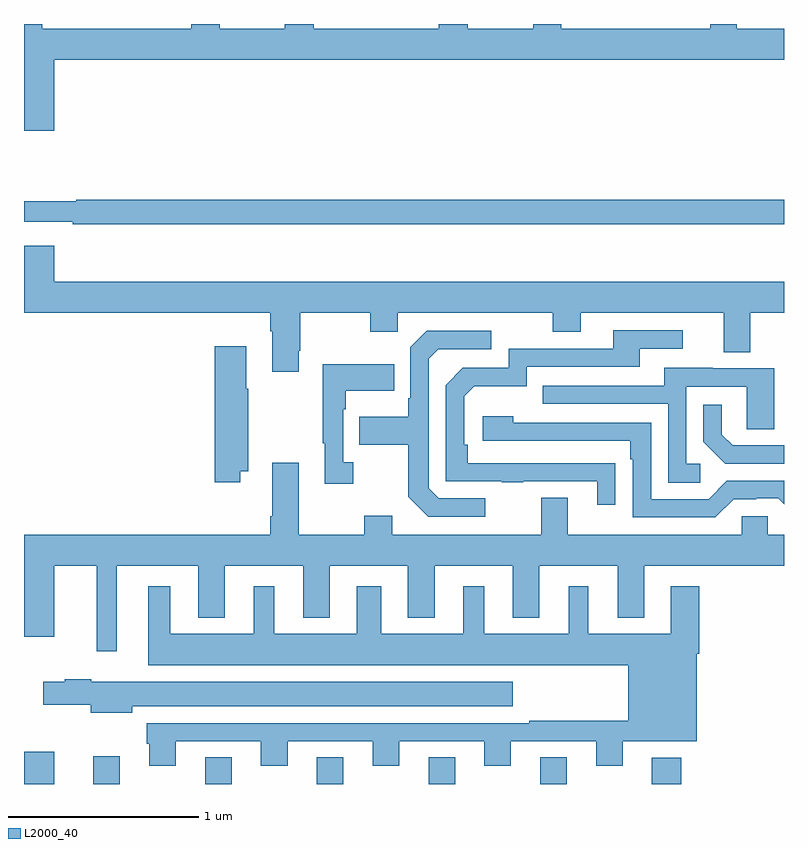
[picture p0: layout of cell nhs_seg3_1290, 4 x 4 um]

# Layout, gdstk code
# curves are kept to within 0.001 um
import gdstk
lib = gdstk.Library(unit=1e-6, precision=1e-09)
def R(c, l, rs):  # rectangles x0, y0, x1, y1
    for r in rs: c.add(gdstk.rectangle(r[:2], r[2:], *l))
def A(c, l, x, y, w, h, nx, ny, dx, dy):  # array of equal rectangles
    R(c, l, [(x+i*dx, y+j*dy, x+i*dx+w, y+j*dy+h) for i in range(nx) for j in range(ny)])
def P(c, l, *ps):  # polygons
    for p in ps: c.add(gdstk.Polygon(p, *l))
L2000_40 = (2000, 40)

nhs_seg3_1290 = lib.new_cell('nhs_seg3_1290')
A(nhs_seg3_1290, L2000_40, 177.953, 734.4, 0.14, 0.14, 4, 1, 0.588, 0)
R(nhs_seg3_1290, L2000_40, [(177,734.4,177.16,734.569), (177.365,734.4,177.505,734.545), (180.305,734.4,180.458,734.539)])
P(nhs_seg3_1290, L2000_40, [(177.16,738.212),(181,738.212),(181,738.376),(180.751,738.376),(180.751,738.4),(180.611,738.4),(180.611,738.376),(179.827,738.376),(179.827,738.4),(179.68,738.4),(179.68,738.376),(179.335,738.376),(179.335,738.4),(179.183,738.4),(179.183,738.376),(178.526,738.376),(178.526,738.4),(178.373,738.4),(178.373,738.376),(178.029,738.376),(178.029,738.4),(177.881,738.4),(177.881,738.376),(177.097,738.376),(177.097,738.4),(177,738.4),(177,737.838),(177.16,737.838)],
  [(181,737.474),(177.274,737.474),(177.274,737.467),(177,737.467),(177,737.358),(177.256,737.358),(177.256,737.346),(181,737.346)],
  [(178.447,736.681),(178.455,736.681),(178.455,736.88),(178.822,736.88),(178.822,736.781),(178.968,736.781),(178.968,736.88),(179.782,736.88),(179.782,736.781),(179.929,736.781),(179.929,736.88),(180.683,736.88),(180.683,736.672),(180.823,736.672),(180.823,736.88),(181,736.88),(181,737.044),(177.16,737.044),(177.16,737.233),(177,737.233),(177,736.88),(178.295,736.88),(178.295,736.784),(178.307,736.784),(178.307,736.569),(178.447,736.569)],
  [(180.113,736.088),(179.336,736.089),(179.336,736.186),(179.316,736.186),(179.316,736.44),(179.369,736.493),(179.646,736.493),(179.646,736.596),(180.241,736.596),(180.241,736.692),(180.466,736.692),(180.466,736.788),(180.101,736.788),(180.101,736.692),(179.55,736.692),(179.55,736.59),(179.31,736.59),(179.22,736.5),(179.22,735.993),(179.515,735.993),(179.515,735.988),(179.627,735.988),(179.627,735.993),(180.017,735.993),(180.017,735.87),(180.113,735.87)],
  [(179.428,735.903),(179.184,735.903),(179.13,735.957),(179.13,736.638),(179.181,736.689),(179.458,736.689),(179.458,736.785),(179.121,736.785),(179.034,736.698),(179.034,736.429),(179.022,736.429),(179.022,736.333),(178.765,736.333),(178.765,736.186),(179.022,736.186),(179.022,735.913),(179.127,735.807),(179.428,735.807)],
  [(178.138,736.046),(178.179,736.046),(178.179,736.481),(178.171,736.481),(178.171,736.705),(178.004,736.705),(178.004,735.987),(178.138,735.987)],
  [(178.732,736.094),(178.68,736.094),(178.68,736.373),(178.693,736.373),(178.693,736.469),(178.949,736.469),(178.949,736.609),(178.572,736.609),(178.572,736.193),(178.583,736.193),(178.583,735.981),(178.732,735.981)],
  [(180.559,736.086),(180.486,736.086),(180.486,736.491),(180.804,736.491),(180.804,736.267),(180.949,736.267),(180.949,736.587),(180.625,736.587),(180.625,736.591),(180.371,736.591),(180.371,736.497),(179.731,736.497),(179.731,736.401),(180.39,736.401),(180.39,735.985),(180.559,735.985)],
  [(181,736.182),(180.73,736.182),(180.673,736.239),(180.673,736.396),(180.576,736.396),(180.576,736.202),(180.692,736.086),(181,736.086)],
  [(180.735,735.9),(180.854,735.9),(180.854,735.903),(180.969,735.903),(181,735.872),(181,735.996),(180.699,735.996),(180.603,735.9),(180.3,735.9),(180.3,736.302),(179.576,736.302),(179.576,736.336),(179.415,736.336),(179.415,736.206),(180.191,736.206),(180.191,736.109),(180.204,736.109),(180.204,735.804),(180.639,735.804)],
  [(177.487,735.548),(177.917,735.548),(177.917,735.275),(178.057,735.275),(178.057,735.548),(178.469,735.548),(178.469,735.275),(178.609,735.275),(178.609,735.548),(179.021,735.548),(179.021,735.275),(179.161,735.275),(179.161,735.548),(179.573,735.548),(179.573,735.275),(179.713,735.275),(179.713,735.548),(180.125,735.548),(180.125,735.275),(180.265,735.275),(180.265,735.548),(181,735.548),(181,735.712),(180.915,735.712),(180.915,735.81),(180.777,735.81),(180.777,735.712),(179.863,735.712),(179.863,735.907),(179.723,735.907),(179.723,735.712),(178.939,735.712),(178.939,735.811),(178.792,735.811),(178.792,735.712),(178.447,735.712),(178.447,736.09),(178.307,736.09),(178.307,735.808),(178.295,735.808),(178.295,735.712),(177,735.712),(177,735.174),(177.16,735.174),(177.16,735.548),(177.383,735.548),(177.383,735.099),(177.487,735.099)],
  [(177.799,734.625),(178.247,734.625),(178.247,734.496),(178.387,734.496),(178.387,734.625),(178.835,734.625),(178.835,734.496),(178.975,734.496),(178.975,734.625),(179.423,734.625),(179.423,734.496),(179.563,734.496),(179.563,734.625),(180.011,734.625),(180.011,734.496),(180.151,734.496),(180.151,734.624),(180.541,734.624),(180.541,735.086),(180.554,735.086),(180.554,735.442),(180.404,735.442),(180.404,735.19),(179.971,735.19),(179.971,735.442),(179.867,735.442),(179.867,735.19),(179.422,735.19),(179.422,735.442),(179.312,735.442),(179.312,735.19),(178.879,735.19),(178.879,735.442),(178.751,735.442),(178.751,735.19),(178.318,735.19),(178.318,735.442),(178.208,735.442),(178.208,735.19),(177.769,735.19),(177.769,735.442),(177.653,735.442),(177.653,735.026),(180.179,735.026),(180.179,734.734),(179.659,734.734),(179.659,734.721),(177.647,734.721),(177.647,734.613),(177.659,734.613),(177.659,734.496),(177.799,734.496)],
  [(177.571,734.81),(179.572,734.81),(179.572,734.938),(177.354,734.938),(177.354,734.951),(177.214,734.951),(177.214,734.938),(177.102,734.938),(177.102,734.816),(177.35,734.816),(177.35,734.774),(177.571,734.774)])

lib.write_gds('nhs_seg3_1290.gds')
